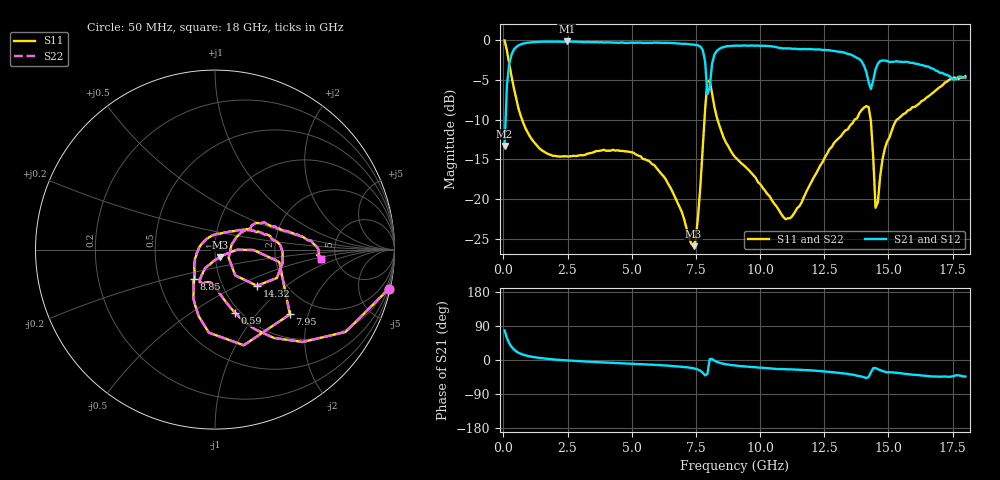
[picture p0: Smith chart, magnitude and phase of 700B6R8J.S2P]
!  American Technical Ceramics  Date:  3/13/98
!  One Norden Lane
!  Huntington Station,  NY.  11746-2102
!  Tel:  (516) 547-5700  Fax:  (516) 547-5748
!  Part Number  700B6R8J
!  Description: Porcelain, High Q, Low ESR
!  Application: Bypass, Coupling, Timing, Feedback
!  Tuning, Impedance Match, Blocking
# GHZ S DB R 50
! Freq  |S11|  S11 Ph  |S21|  S21 Ph  |S12|  S12 Ph  |S22|  S22 Ph
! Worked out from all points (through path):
!   201 points, 50 MHz to 18 GHz, reference 50 ohm
!   highest |S21| = -0.18 dB at 2.47 GHz (marker M1); lowest = -13.3 dB at 50 MHz (marker M2)
!   lowest |S11| = -25.9 dB at 7.41 GHz (marker M3), VSWR 1.11, Z = 52.6 - j4.51 ohm
!   |S11| at or under -10 dB: 730.5 MHz to 7.836 GHz (7.105 GHz wide, 166 % of centre); 8.345 GHz to 13.69 GHz (5.342 GHz wide, 48.5 % of centre); 14.31 GHz to 15.34 GHz (1.026 GHz wide, 6.92 % of centre)
!   |S22| runs from -25.9 to 0.0 dB; largest |S21 - S12| = 0
!   S11 on the Smith chart (normalised r, x): 50 MHz: 0.24, -9.04; 590 MHz: 0.95, -0.78; 7.95 GHz: 1.48, -1.54; 8.85 GHz: 0.75, -0.26; 14.32 GHz: 1.44, -0.64; 18 GHz: 3.80, -0.64
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0.05  -0.05 -12.6  -13.33 77.7  -13.33 77.7  -0.05 -12.6
0.14  -1.31 -32.2  -5.70 57.9  -5.70 57.9  -1.31 -32.2
0.23  -2.98 -46.5  -2.99 44.1  -2.99 44.1  -2.98 -46.5
0.59  -8.61 -72.2  -0.67 19.0  -0.67 19.0  -8.61 -72.2
1.4  -13.60 -89.1  -0.22 5.5  -0.22 5.5  -13.60 -89.1
2.47  -14.63 -101.1  -0.18 -1.0  -0.18 -1.0  -14.63 -101.1
3.1  -14.49 -106.2  -0.24 -3.5  -0.24 -3.5  -14.49 -106.2
6.06  -16.45 -117.2  -0.33 -13.6  -0.33 -13.6  -16.45 -117.2
7.41  -25.91 -57.5  -0.57 -22.0  -0.57 -22.0  -25.91 -57.5
7.77  -13.35 -0.6  -1.26 -33.7  -1.26 -33.7  -13.35 -0.6
7.95  -5.17 -40.8  -6.83 -36.5  -6.83 -36.5  -5.17 -40.8
8.04  -5.09 -73.2  -5.95 2.0  -5.95 2.0  -5.09 -73.2
8.22  -8.36 -103.8  -1.85 -1.6  -1.85 -1.6  -8.36 -103.8
8.85  -13.88 -125.4  -0.75 -13.2  -0.75 -13.2  -13.88 -125.4
9.03  -14.72 -128.2  -0.71 -14.5  -0.71 -14.5  -14.72 -128.2
11  -22.52 137.4  -1.04 -24.3  -1.04 -24.3  -22.52 137.4
12.08  -17.34 48.7  -1.16 -27.7  -1.16 -27.7  -17.34 48.7
13.87  -9.18 7.2  -2.38 -42.4  -2.38 -42.4  -9.18 7.2
14.32  -10.20 -40.7  -6.16 -32.7  -6.16 -32.7  -10.20 -40.7
14.5  -21.08 -30.5  -3.67 -21.2  -3.67 -21.2  -21.08 -30.5
15.04  -12.28 33.2  -2.76 -32.5  -2.76 -32.5  -12.28 33.2
18  -4.54 -5.3  -4.74 -43.9  -4.74 -43.9  -4.54 -5.3
